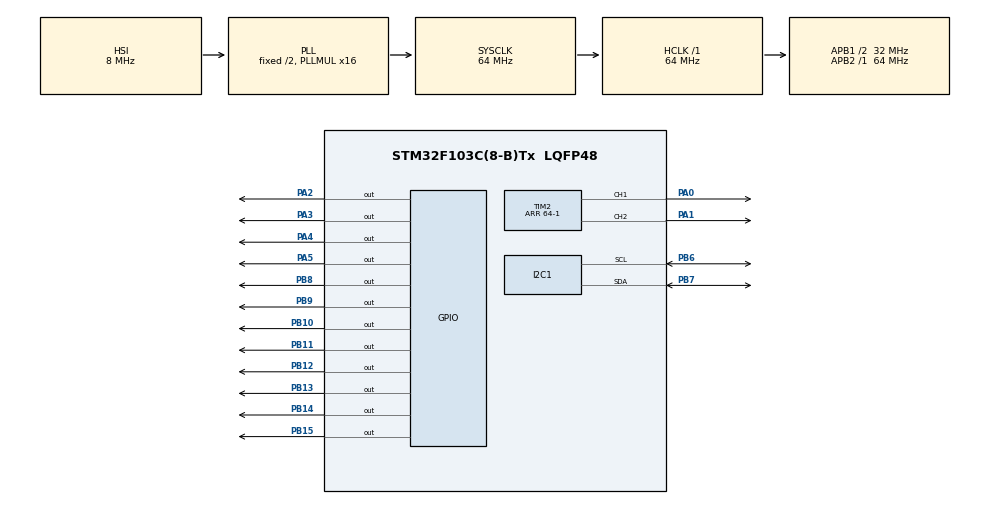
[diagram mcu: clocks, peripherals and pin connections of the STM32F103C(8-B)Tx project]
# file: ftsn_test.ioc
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Dma.Request0=TIM2_CH2/CH4
Dma.TIM2_CH2/CH4.0.Direction=DMA_MEMORY_TO_PERIPH
Dma.TIM2_CH2/CH4.0.Instance=DMA1_Channel7
Dma.TIM2_CH2/CH4.0.MemDataAlignment=DMA_MDATAALIGN_HALFWORD
Dma.TIM2_CH2/CH4.0.MemInc=DMA_MINC_ENABLE
Dma.TIM2_CH2/CH4.0.Mode=DMA_NORMAL
Dma.TIM2_CH2/CH4.0.PeriphDataAlignment=DMA_PDATAALIGN_HALFWORD
Dma.TIM2_CH2/CH4.0.PeriphInc=DMA_PINC_DISABLE
Dma.TIM2_CH2/CH4.0.Priority=DMA_PRIORITY_LOW
Mcu.Family=STM32F1
Mcu.Name=STM32F103C(8-B)Tx
Mcu.Package=LQFP48
NVIC.DMA1_Channel7_IRQn=true\:0\:0\:false\:false\:true\:false\:true\:true
NVIC.PriorityGroup=NVIC_PRIORITYGROUP_4
PA0-WKUP.Signal=S_TIM2_CH1_ETR
PA1.Signal=S_TIM2_CH2
PA2.Signal=GPIO_Output
PA3.Signal=GPIO_Output
PA4.Signal=GPIO_Output
PA5.Signal=GPIO_Output
PB10.Signal=GPIO_Output
PB11.Signal=GPIO_Output
PB12.Signal=GPIO_Output
PB13.Signal=GPIO_Output
PB14.Signal=GPIO_Output
PB15.Signal=GPIO_Output
PB6.Mode=I2C
PB6.Signal=I2C1_SCL
PB7.Mode=I2C
PB7.Signal=I2C1_SDA
PB8.Signal=GPIO_Output
PB9.Signal=GPIO_Output
ProjectManager.HeapSize=0x200
ProjectManager.StackSize=0x400
ProjectManager.TargetToolchain=STM32CubeIDE
RCC.ADCPresc=RCC_ADCPCLK2_DIV6
RCC.AHBFreq_Value=64000000
RCC.APB1CLKDivider=RCC_HCLK_DIV2
RCC.APB1Freq_Value=32000000
RCC.APB1TimFreq_Value=64000000
RCC.APB2Freq_Value=64000000
RCC.APB2TimFreq_Value=64000000
RCC.HCLKFreq_Value=64000000
RCC.PLLMUL=RCC_PLL_MUL16
RCC.SYSCLKFreq_VALUE=64000000
RCC.SYSCLKSource=RCC_SYSCLKSOURCE_PLLCLK
RCC.USBFreq_Value=64000000
SH.S_TIM2_CH1_ETR.0=TIM2_CH1,PWM Generation1 CH1
SH.S_TIM2_CH2.0=TIM2_CH2,PWM Generation2 CH2
TIM1.Prescaler=4-1
TIM2.Channel-PWM\ Generation1\ CH1=TIM_CHANNEL_1
TIM2.Channel-PWM\ Generation2\ CH2=TIM_CHANNEL_2
TIM2.Period=64-1
VP_TIM1_VS_ClockSourceINT.Mode=Internal
VP_TIM2_VS_ClockSourceINT.Mode=Internal
board=custom

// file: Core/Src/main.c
/* USER CODE BEGIN Header */
/**
  ******************************************************************************
  * @file           : main.c
  * @brief          : Main program body
  ******************************************************************************
  * @attention
  *
  * Copyright (c) 2023 STMicroelectronics.
  * All rights reserved.
  *
  * This software is licensed under terms that can be found in the LICENSE file
  * in the root directory of this software component.
  * If no LICENSE file comes with this software, it is provided AS-IS.
  *
  ******************************************************************************
  */
/* USER CODE END Header */
#include "main.h"

/* USER CODE BEGIN Includes */
#include "led_strip.h"
#include "display.h"
/* USER CODE END Includes */

I2C_HandleTypeDef hi2c1;

TIM_HandleTypeDef htim1;
TIM_HandleTypeDef htim2;
DMA_HandleTypeDef hdma_tim2_ch2_ch4;

void SystemClock_Config(void);
static void MX_GPIO_Init(void);
static void MX_DMA_Init(void);
static void MX_I2C1_Init(void);
static void MX_TIM2_Init(void);
static void MX_TIM1_Init(void);

/* USER CODE BEGIN 0 */
int _write(int file, char *ptr, int len)
{
  /* Implement your write code here, this is used by puts and printf for example */
  int i=0;
  for(i=0 ; i<len ; i++)
    ITM_SendChar((*ptr++));
  return len;
}
/* USER CODE END 0 */

int main(void)
{

  /* MCU Configuration--------------------------------------------------------*/

  /* Reset of all peripherals, Initializes the Flash interface and the Systick. */
  HAL_Init();

  /* Configure the system clock */
  SystemClock_Config();

  /* Initialize all configured peripherals */
  MX_GPIO_Init();
  MX_DMA_Init();
  MX_I2C1_Init();
  MX_TIM2_Init();
  MX_TIM1_Init();
  /* USER CODE BEGIN 2 */
  Strip_Set_Timer(&htim2);
  Strip_Clear();

  Display_Set_Timer(&htim1);
  Display_Configure_Pins(GPIO_PIN_5, GPIOA, GPIO_PIN_2, GPIOA, GPIO_PIN_4, GPIOA);
  Display_Turn_On();
  Display_All_Points_On();
  //Display_Data_Read();
  //Display_Booster_Ratio_Set();
  //Display_Data_Read();
  /* USER CODE END 2 */

  /* Infinite loop */
  /* USER CODE BEGIN WHILE */
  uint16_t j = 0;
  while (1)
  {
	  //printf("Hello SWV debugging prints...count = %d\n",j++);
	  Set_Brightness(40);
	  Strip_Progress_Bar_Single_Color((j/20)%6, RED);

	  Strip_Send();
	  HAL_Delay (10);
	  j++;
    /* USER CODE END WHILE */

  }
}

void SystemClock_Config(void)
{
  RCC_OscInitTypeDef RCC_OscInitStruct = {0};
  RCC_ClkInitTypeDef RCC_ClkInitStruct = {0};

  /** Initializes the RCC Oscillators according to the specified parameters
  * in the RCC_OscInitTypeDef structure.
  */
  RCC_OscInitStruct.OscillatorType = RCC_OSCILLATORTYPE_HSI;
  RCC_OscInitStruct.HSIState = RCC_HSI_ON;
  RCC_OscInitStruct.HSICalibrationValue = RCC_HSICALIBRATION_DEFAULT;
  RCC_OscInitStruct.PLL.PLLState = RCC_PLL_ON;
  RCC_OscInitStruct.PLL.PLLSource = RCC_PLLSOURCE_HSI_DIV2;
  RCC_OscInitStruct.PLL.PLLMUL = RCC_PLL_MUL16;
  if (HAL_RCC_OscConfig(&RCC_OscInitStruct) != HAL_OK)
  {
    Error_Handler();
  }

  /** Initializes the CPU, AHB and APB buses clocks
  */
  RCC_ClkInitStruct.ClockType = RCC_CLOCKTYPE_HCLK|RCC_CLOCKTYPE_SYSCLK
                              |RCC_CLOCKTYPE_PCLK1|RCC_CLOCKTYPE_PCLK2;
  RCC_ClkInitStruct.SYSCLKSource = RCC_SYSCLKSOURCE_PLLCLK;
  RCC_ClkInitStruct.AHBCLKDivider = RCC_SYSCLK_DIV1;
  RCC_ClkInitStruct.APB1CLKDivider = RCC_HCLK_DIV2;
  RCC_ClkInitStruct.APB2CLKDivider = RCC_HCLK_DIV1;

  if (HAL_RCC_ClockConfig(&RCC_ClkInitStruct, FLASH_LATENCY_2) != HAL_OK)
  {
    Error_Handler();
  }
}

static void MX_I2C1_Init(void)
{

  hi2c1.Instance = I2C1;
  hi2c1.Init.ClockSpeed = 100000;
  hi2c1.Init.DutyCycle = I2C_DUTYCYCLE_2;
  hi2c1.Init.OwnAddress1 = 0;
  hi2c1.Init.AddressingMode = I2C_ADDRESSINGMODE_7BIT;
  hi2c1.Init.DualAddressMode = I2C_DUALADDRESS_DISABLE;
  hi2c1.Init.OwnAddress2 = 0;
  hi2c1.Init.GeneralCallMode = I2C_GENERALCALL_DISABLE;
  hi2c1.Init.NoStretchMode = I2C_NOSTRETCH_DISABLE;
  if (HAL_I2C_Init(&hi2c1) != HAL_OK)
  {
    Error_Handler();
  }

}

static void MX_TIM1_Init(void)
{

  TIM_ClockConfigTypeDef sClockSourceConfig = {0};
  TIM_MasterConfigTypeDef sMasterConfig = {0};

  htim1.Instance = TIM1;
  htim1.Init.Prescaler = 4-1;
  htim1.Init.CounterMode = TIM_COUNTERMODE_UP;
  htim1.Init.Period = 65535;
  htim1.Init.ClockDivision = TIM_CLOCKDIVISION_DIV1;
  htim1.Init.RepetitionCounter = 0;
  htim1.Init.AutoReloadPreload = TIM_AUTORELOAD_PRELOAD_DISABLE;
  if (HAL_TIM_Base_Init(&htim1) != HAL_OK)
  {
    Error_Handler();
  }
  sClockSourceConfig.ClockSource = TIM_CLOCKSOURCE_INTERNAL;
  if (HAL_TIM_ConfigClockSource(&htim1, &sClockSourceConfig) != HAL_OK)
  {
    Error_Handler();
  }
  sMasterConfig.MasterOutputTrigger = TIM_TRGO_RESET;
  sMasterConfig.MasterSlaveMode = TIM_MASTERSLAVEMODE_DISABLE;
  if (HAL_TIMEx_MasterConfigSynchronization(&htim1, &sMasterConfig) != HAL_OK)
  {
    Error_Handler();
  }

}

static void MX_TIM2_Init(void)
{

  TIM_ClockConfigTypeDef sClockSourceConfig = {0};
  TIM_MasterConfigTypeDef sMasterConfig = {0};
  TIM_OC_InitTypeDef sConfigOC = {0};

  htim2.Instance = TIM2;
  htim2.Init.Prescaler = 0;
  htim2.Init.CounterMode = TIM_COUNTERMODE_UP;
  htim2.Init.Period = 64-1;
  htim2.Init.ClockDivision = TIM_CLOCKDIVISION_DIV1;
  htim2.Init.AutoReloadPreload = TIM_AUTORELOAD_PRELOAD_DISABLE;
  if (HAL_TIM_Base_Init(&htim2) != HAL_OK)
  {
    Error_Handler();
  }
  sClockSourceConfig.ClockSource = TIM_CLOCKSOURCE_INTERNAL;
  if (HAL_TIM_ConfigClockSource(&htim2, &sClockSourceConfig) != HAL_OK)
  {
    Error_Handler();
  }
  if (HAL_TIM_PWM_Init(&htim2) != HAL_OK)
  {
    Error_Handler();
  }
  sMasterConfig.MasterOutputTrigger = TIM_TRGO_RESET;
  sMasterConfig.MasterSlaveMode = TIM_MASTERSLAVEMODE_DISABLE;
  if (HAL_TIMEx_MasterConfigSynchronization(&htim2, &sMasterConfig) != HAL_OK)
  {
    Error_Handler();
  }
  sConfigOC.OCMode = TIM_OCMODE_PWM1;
  sConfigOC.Pulse = 0;
  sConfigOC.OCPolarity = TIM_OCPOLARITY_HIGH;
  sConfigOC.OCFastMode = TIM_OCFAST_DISABLE;
  if (HAL_TIM_PWM_ConfigChannel(&htim2, &sConfigOC, TIM_CHANNEL_1) != HAL_OK)
  {
    Error_Handler();
  }
  if (HAL_TIM_PWM_ConfigChannel(&htim2, &sConfigOC, TIM_CHANNEL_2) != HAL_OK)
  {
    Error_Handler();
  }
  HAL_TIM_MspPostInit(&htim2);

}

static void MX_DMA_Init(void)
{

  /* DMA controller clock enable */
  __HAL_RCC_DMA1_CLK_ENABLE();

  /* DMA interrupt init */
  /* DMA1_Channel7_IRQn interrupt configuration */
  HAL_NVIC_SetPriority(DMA1_Channel7_IRQn, 0, 0);
  HAL_NVIC_EnableIRQ(DMA1_Channel7_IRQn);

}

static void MX_GPIO_Init(void)
{
  GPIO_InitTypeDef GPIO_InitStruct = {0};

  /* GPIO Ports Clock Enable */
  __HAL_RCC_GPIOA_CLK_ENABLE();
  __HAL_RCC_GPIOB_CLK_ENABLE();

  /*Configure GPIO pin Output Level */
  HAL_GPIO_WritePin(GPIOA, GPIO_PIN_2|GPIO_PIN_3|GPIO_PIN_4|GPIO_PIN_5, GPIO_PIN_RESET);

  /*Configure GPIO pin Output Level */
  HAL_GPIO_WritePin(GPIOB, GPIO_PIN_10|GPIO_PIN_11|GPIO_PIN_12|GPIO_PIN_13
                          |GPIO_PIN_14|GPIO_PIN_15|GPIO_PIN_8|GPIO_PIN_9, GPIO_PIN_RESET);

  /*Configure GPIO pins : PA2 PA3 PA4 PA5 */
  GPIO_InitStruct.Pin = GPIO_PIN_2|GPIO_PIN_3|GPIO_PIN_4|GPIO_PIN_5;
  GPIO_InitStruct.Mode = GPIO_MODE_OUTPUT_PP;
  GPIO_InitStruct.Pull = GPIO_NOPULL;
  GPIO_InitStruct.Speed = GPIO_SPEED_FREQ_LOW;
  HAL_GPIO_Init(GPIOA, &GPIO_InitStruct);

  /*Configure GPIO pins : PB10 PB11 PB12 PB13
                           PB14 PB15 PB8 PB9 */
  GPIO_InitStruct.Pin = GPIO_PIN_10|GPIO_PIN_11|GPIO_PIN_12|GPIO_PIN_13
                          |GPIO_PIN_14|GPIO_PIN_15|GPIO_PIN_8|GPIO_PIN_9;
  GPIO_InitStruct.Mode = GPIO_MODE_OUTPUT_PP;
  GPIO_InitStruct.Pull = GPIO_NOPULL;
  GPIO_InitStruct.Speed = GPIO_SPEED_FREQ_LOW;
  HAL_GPIO_Init(GPIOB, &GPIO_InitStruct);

}

void Error_Handler(void)
{
  __disable_irq();
  while (1)
  {
  }
}
